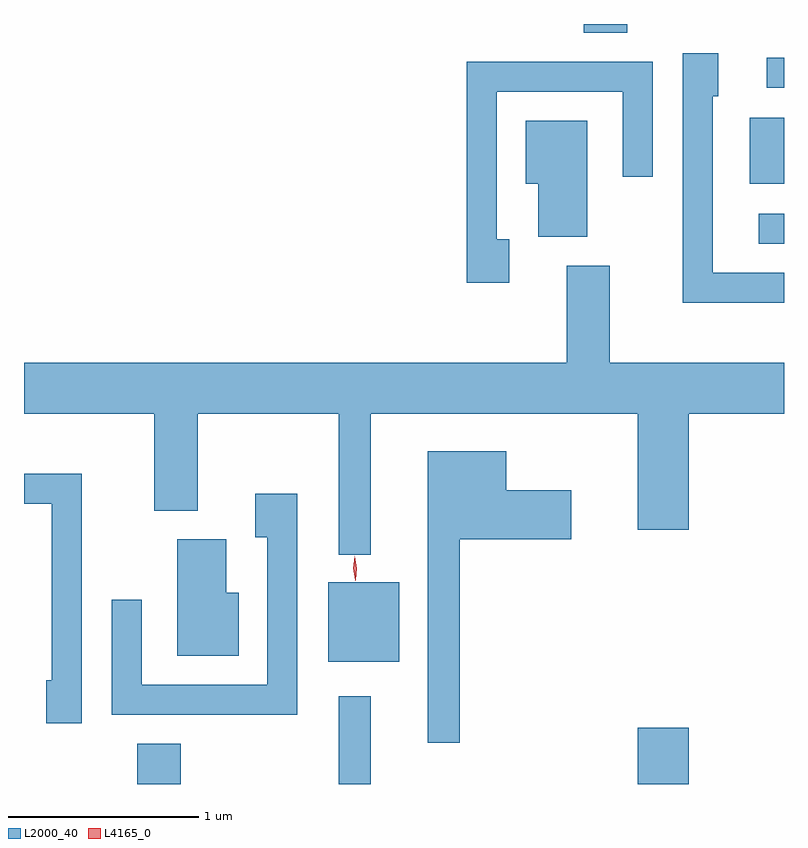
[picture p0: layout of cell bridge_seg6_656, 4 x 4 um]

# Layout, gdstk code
import gdstk
lib = gdstk.Library(unit=1e-6, precision=1e-09)
def R(c, l, rs):  # rectangles x0, y0, x1, y1
    for r in rs: c.add(gdstk.rectangle(r[:2], r[2:], *l))
def P(c, l, *ps):  # polygons
    for p in ps: c.add(gdstk.Polygon(p, *l))
L2000_40 = (2000, 40)
L4165_0 = (4165, 0)

bridge_seg6_656 = lib.new_cell('bridge_seg6_656')
R(bridge_seg6_656, L2000_40, [(212.441,1641.327,212.669,1641.539), (213.501,1641.327,213.669,1641.788), (215.076,1641.327,215.344,1641.624), (213.446,1641.971,213.819,1642.389), (215.713,1644.171,215.845,1644.329), (215.666,1644.486,215.845,1644.834), (215.753,1644.991,215.845,1645.149), (214.791,1645.281,215.019,1645.327)])
P(bridge_seg6_656, L2000_40, [(215.845,1644.019),(215.469,1644.019),(215.469,1644.946),(215.499,1644.946),(215.499,1645.174),(215.311,1645.174),(215.311,1643.861),(215.845,1643.861)],
  [(214.399,1644.194),(214.334,1644.194),(214.334,1644.971),(214.996,1644.971),(214.996,1644.523),(215.154,1644.523),(215.154,1645.129),(214.176,1645.129),(214.176,1643.966),(214.399,1643.966)],
  [(214.809,1644.819),(214.486,1644.819),(214.486,1644.486),(214.551,1644.486),(214.551,1644.206),(214.809,1644.206)],
  [(213.669,1643.276),(215.076,1643.276),(215.076,1642.666),(215.344,1642.666),(215.344,1643.276),(215.845,1643.276),(215.845,1643.544),(214.929,1643.544),(214.929,1644.054),(214.701,1644.054),(214.701,1643.544),(211.845,1643.544),(211.845,1643.276),(212.531,1643.276),(212.531,1642.766),(212.759,1642.766),(212.759,1643.276),(213.501,1643.276),(213.501,1642.533),(213.669,1642.533)],
  [(214.139,1642.616),(214.724,1642.616),(214.724,1642.874),(214.384,1642.874),(214.384,1643.079),(213.971,1643.079),(213.971,1641.543),(214.139,1641.543)],
  [(212.149,1642.959),(211.845,1642.959),(211.845,1642.801),(211.991,1642.801),(211.991,1641.874),(211.961,1641.874),(211.961,1641.646),(212.149,1641.646)],
  [(213.284,1642.854),(213.061,1642.854),(213.061,1642.626),(213.126,1642.626),(213.126,1641.849),(212.464,1641.849),(212.464,1642.298),(212.306,1642.298),(212.306,1641.691),(213.284,1641.691)],
  [(212.974,1642.334),(212.909,1642.334),(212.909,1642.614),(212.651,1642.614),(212.651,1642.001),(212.974,1642.001)])
P(bridge_seg6_656, L4165_0, [(213.589,1642.398),(213.588,1642.399),(213.578,1642.463),(213.585,1642.527),(213.586,1642.527),(213.586,1642.527),(213.597,1642.463),(213.59,1642.399)])

lib.write_gds('bridge_seg6_656.gds')
